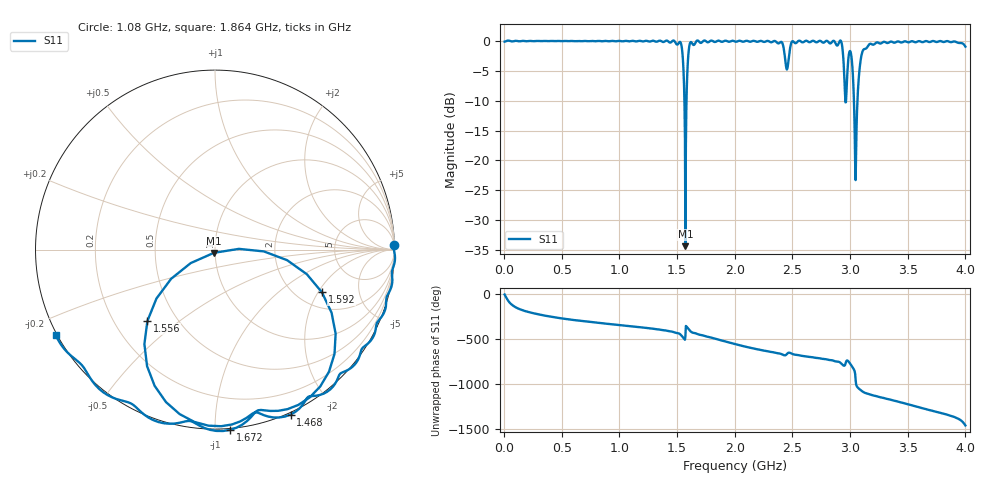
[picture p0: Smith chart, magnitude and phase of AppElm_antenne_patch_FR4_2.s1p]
! TOUCHSTONE file generated by CST MICROWAVE STUDIO
! Date and time: Tue Jun  7 22:11:13 2022
! Project name: AppElm_antenne_patch_FR4.cst
! Parameters = {L=45; W=58.5; e=0.035; h=1.6; lambda=0.190476; ls=120; w0=1.6; w1=0.42645; ws=120; y0=20; y1=23.81}
! Header version: 2018
! Port assignment regex: !\s*Touchstone port\s*([0-9]+)\s*=\s*(CST MWS port|CST DS port)\s*([0-9]+|Zmin|Zmax)\s*\(\"(.*)\"\)(\s*mode\s*([0-9]+))?.*
! Touchstone port assignment:
! Touchstone port 1 = CST MWS port 1 ("")
# GHz S MA R 50
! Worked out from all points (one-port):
!   1000 points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, 4 MHz to 4 GHz, reference 50 ohm
!   lowest |S11| = -34.4 dB at 1.572 GHz (marker M1), VSWR 1.04, Z = 49.3 - j1.78 ohm
!   |S11| at or under -10 dB: 1.563 GHz to 1.581 GHz (18.29 MHz wide, 1.16 % of centre); 2.959242 GHz to 2.964705 GHz (5.463 MHz wide, 0.184 % of centre); 3.033 GHz to 3.064 GHz (30.4 MHz wide, 0.997 % of centre)
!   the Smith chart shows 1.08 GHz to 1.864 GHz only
!   S11 on the Smith chart (normalised r, x): 1.08 GHz: 16, +79; 1.468 GHz: -0.02, -1.56; 1.556 GHz: 0.34, -0.39; 1.592 GHz: 2.68, -2.16; 1.672 GHz: -0.01, -1.09; 1.864 GHz: -0.00, -0.25
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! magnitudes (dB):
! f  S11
! 4 MHz  -0.1
! 504 MHz  0.0
! 1.004 GHz  0.0
! 1.08 GHz  0.0
! 1.468 GHz  0.1
! 1.504 GHz  -0.6
! 1.54 GHz  -1.0
! 1.556 GHz  -5.2
! 1.572 GHz  -34.4
! 1.592 GHz  -3.9
! 1.6 GHz  -1.7
! 1.612 GHz  -0.3
! 1.672 GHz  0.1
! 1.864 GHz  0.1
! 2.004 GHz  -0.1
! 2.396 GHz  -0.2
! 2.452 GHz  -4.8
! 2.504 GHz  0.0
! 2.912 GHz  0.0
! 2.964 GHz  -10.2
! 3.004 GHz  -1.8
! 3.016 GHz  -3.4
! 3.036 GHz  -11.7
! 3.052 GHz  -18.5
! 3.088 GHz  -3.7
! 3.12 GHz  -1.4
! 3.504 GHz  -0.2
! 4 GHz  -0.9
